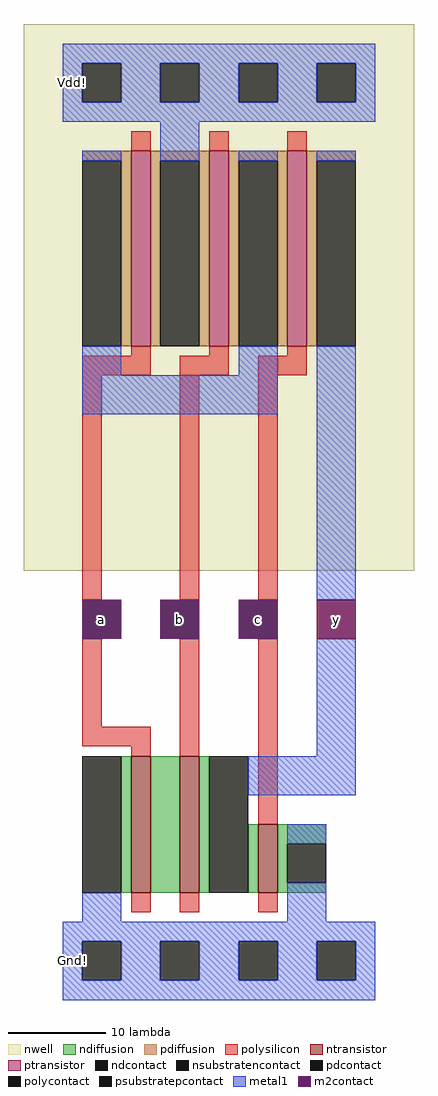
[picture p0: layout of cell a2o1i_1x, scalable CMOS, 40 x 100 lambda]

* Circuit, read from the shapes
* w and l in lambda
.subckt a2o1i_1x Gnd! Vdd! a b c y
M1 n1 a Gnd! Gnd! nfet w=14 l=2
M2 y b n1 Gnd! nfet w=14 l=2
M3 Gnd! c y Gnd! nfet w=7 l=2
M4 Vdd! a n2 Vdd! pfet w=20 l=2
M5 n2 b Vdd! Vdd! pfet w=20 l=2
M6 y c n2 Vdd! pfet w=20 l=2
.ends

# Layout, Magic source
magic
tech scmos
<< nwell >>
rect -4 40 36 96
<< ntransistor >>
rect 7 7 9 21
rect 12 7 14 21
rect 20 7 22 14
<< ptransistor >>
rect 7 63 9 83
rect 15 63 17 83
rect 23 63 25 83
<< ndiffusion >>
rect 6 7 7 21
rect 9 7 12 21
rect 14 7 15 21
rect 19 7 20 14
rect 22 12 27 14
rect 22 8 23 12
rect 22 7 27 8
<< pdiffusion >>
rect 2 82 7 83
rect 6 63 7 82
rect 9 82 15 83
rect 9 63 10 82
rect 14 63 15 82
rect 17 82 23 83
rect 17 63 18 82
rect 22 63 23 82
rect 25 82 30 83
rect 25 63 26 82
<< ndcontact >>
rect 2 7 6 21
rect 15 7 19 21
rect 23 8 27 12
<< pdcontact >>
rect 2 63 6 82
rect 10 63 14 82
rect 18 63 22 82
rect 26 63 30 82
<< psubstratepcontact >>
rect 2 -2 6 2
rect 10 -2 14 2
rect 18 -2 22 2
rect 26 -2 30 2
<< nsubstratencontact >>
rect 2 88 6 92
rect 10 88 14 92
rect 18 88 22 92
rect 26 88 30 92
<< polysilicon >>
rect 7 83 9 85
rect 15 83 17 85
rect 23 83 25 85
rect 7 62 9 63
rect 15 62 17 63
rect 23 62 25 63
rect 2 60 9 62
rect 12 60 17 62
rect 20 60 25 62
rect 2 37 4 60
rect 12 37 14 60
rect 20 37 22 60
rect 26 33 30 37
rect 2 24 4 33
rect 2 22 9 24
rect 7 21 9 22
rect 12 21 14 33
rect 20 14 22 33
rect 7 5 9 7
rect 12 5 14 7
rect 20 5 22 7
<< polycontact >>
rect 2 33 6 37
rect 10 33 14 37
rect 18 33 22 37
<< metal1 >>
rect 0 92 32 94
rect 0 88 2 92
rect 6 88 10 92
rect 14 88 18 92
rect 22 88 26 92
rect 30 88 32 92
rect 0 86 32 88
rect 2 82 6 83
rect 10 82 14 86
rect 18 82 22 83
rect 2 60 6 63
rect 18 60 22 63
rect 2 56 22 60
rect 26 82 30 83
rect 26 37 30 63
rect 26 21 30 33
rect 19 17 30 21
rect 23 12 27 14
rect 2 4 6 7
rect 23 4 27 8
rect 0 2 32 4
rect 0 -2 2 2
rect 6 -2 10 2
rect 14 -2 18 2
rect 22 -2 26 2
rect 30 -2 32 2
rect 0 -4 32 -2
<< m2contact >>
rect 2 33 6 37
rect 10 33 14 37
rect 18 33 22 37
rect 26 33 30 37
<< labels >>
rlabel metal1 1 0 1 0 3 Gnd!
rlabel metal1 1 90 1 90 3 Vdd!
rlabel m2contact 4 35 4 35 1 a
rlabel m2contact 12 35 12 35 1 b
rlabel m2contact 20 35 20 35 1 c
rlabel m2contact 28 35 28 35 1 y
<< end >>
